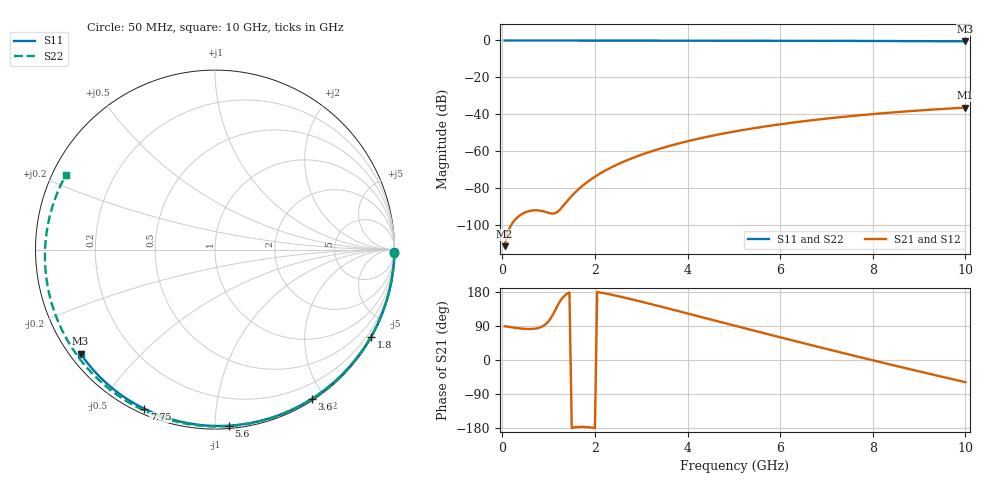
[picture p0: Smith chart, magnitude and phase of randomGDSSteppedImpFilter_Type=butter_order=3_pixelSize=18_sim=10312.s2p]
! freq	dB(S11)	phase(S11)	dB(S12)	phase(S12)
!  dB(S21)	phase(S21)	dB(S22)	phase(S22)
!S-par simulation data
#  GHz  S  DB  R 50
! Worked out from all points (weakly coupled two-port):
!   200 points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, 50 MHz to 10 GHz, reference 50 ohm
!   highest |S21| = -36.43 dB at 10 GHz (marker M1); lowest = -111.6 dB at 50 MHz (marker M2)
!   lowest |S11| = -0.5 dB at 10 GHz (marker M3), VSWR 36.72, Z = 1.52 - j17.1 ohm
!   |S11| at or under -10 dB: nowhere
!   |S22| runs from -0.6 to 0.0 dB; largest |S21 - S12| = 0
!   S11 on the Smith chart (normalised r, x): 50 MHz: open; 1.8 GHz: 0.03, -3.84; 3.6 GHz: 0.02, -1.84; 5.6 GHz: 0.02, -1.08; 7.75 GHz: 0.02, -0.65; 10 GHz: 0.03, -0.34
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0.05  -0.00 -0.8  -111.56 89.1  -111.56 89.1  -0.00 -1.2
0.8  -0.02 -13.1  -92.23 85.3  -92.23 85.3  -0.02 -18.6
1.2  -0.02 -19.6  -92.79 144.9  -92.79 144.9  -0.04 -27.7
1.65  -0.03 -26.8  -80.58 -176.5  -80.58 -176.5  -0.05 -37.9
1.7  -0.03 -27.6  -79.48 -176.3  -79.48 -176.3  -0.05 -39.0
1.75  -0.04 -28.4  -78.43 -176.4  -78.43 -176.4  -0.05 -40.1
1.8  -0.04 -29.2  -77.43 -176.7  -77.43 -176.7  -0.05 -41.2
2.1  -0.04 -33.9  -72.33 178.5  -72.33 178.5  -0.06 -47.9
2.5  -0.05 -40.2  -67.08 168.5  -67.08 168.5  -0.07 -56.6
2.9  -0.06 -46.3  -62.92 157.0  -62.92 157.0  -0.08 -65.1
3.4  -0.07 -53.9  -58.71 141.7  -58.71 141.7  -0.10 -75.6
3.6  -0.08 -56.9  -57.26 135.4  -57.26 135.4  -0.11 -79.7
4.3  -0.09 -67.2  -52.90 113.3  -52.90 113.3  -0.13 -93.8
5.05  -0.12 -77.9  -49.19 89.6  -49.19 89.6  -0.17 -108.5
5.6  -0.14 -85.6  -46.92 72.3  -46.92 72.3  -0.20 -119.1
6.15  -0.16 -93.0  -44.95 55.2  -44.95 55.2  -0.23 -129.5
6.7  -0.19 -100.3  -43.23 38.3  -43.23 38.3  -0.27 -139.8
7.25  -0.23 -107.5  -41.71 21.6  -41.71 21.6  -0.32 -150.3
7.75  -0.26 -113.9  -40.49 6.6  -40.49 6.6  -0.36 -159.9
8.35  -0.31 -121.6  -39.19 -11.1  -39.19 -11.1  -0.43 -171.6
9.2  -0.39 -132.2  -37.63 -35.8  -37.63 -35.8  -0.53 170.9
10  -0.47 -142.3  -36.43 -58.5  -36.43 -58.5  -0.64 153.3
